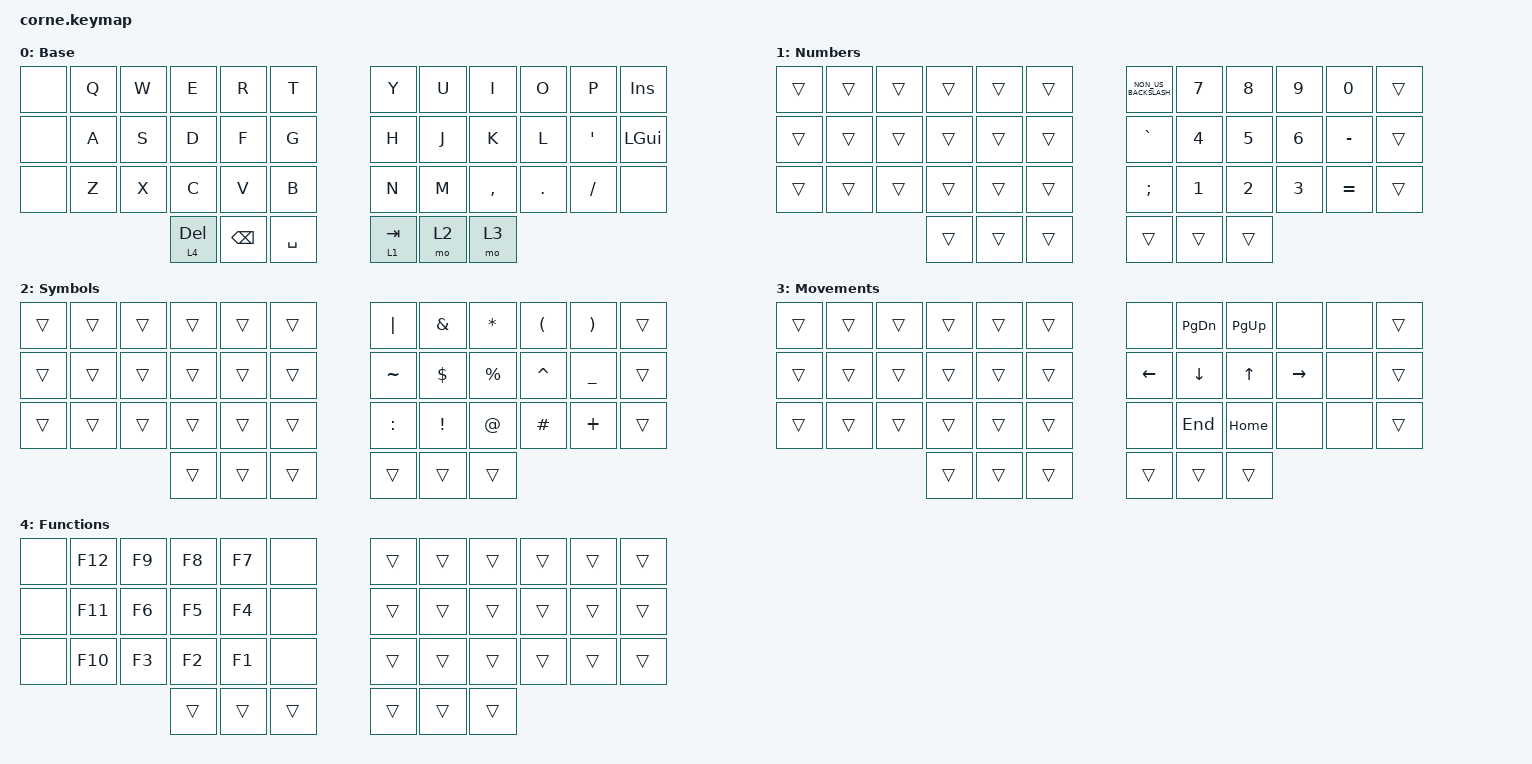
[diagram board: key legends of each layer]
/*
 * Copyright (c) 2020 The ZMK Contributors
 *
 * SPDX-License-Identifier: MIT
 */

#include <behaviors.dtsi>
#include <dt-bindings/zmk/keys.h>

/ {
    combos {
        compatible = "zmk,combos";

        left_control {
            bindings = <&kp LEFT_CONTROL>;
            key-positions = <16 15>;
        };

        left_shift {
            bindings = <&kp LEFT_SHIFT>;
            key-positions = <15 14>;
        };

        left_control_shift {
            bindings = <&kp LS(LEFT_CONTROL)>;
            key-positions = <16 15 14>;
        };

        enter {
            bindings = <&kp ENTER>;
            key-positions = <2 3 4>;
        };

        esc {
            bindings = <&kp ESC>;
            key-positions = <7 8 9>;
        };

        left_bracket {
            bindings = <&kp LEFT_BRACKET>;
            key-positions = <31 32>;
        };

        right_bracket {
            bindings = <&kp RIGHT_BRACKET>;
            key-positions = <32 33>;
        };

        right_control {
            bindings = <&kp LEFT_CONTROL>;
            key-positions = <19 20>;
        };

        right_shift {
            bindings = <&kp LEFT_SHIFT>;
            key-positions = <20 21>;
        };

        right_shift_control {
            bindings = <&kp LS(LEFT_CONTROL)>;
            key-positions = <19 20 21>;
        };
    };

    keymap {
        compatible = "zmk,keymap";

        default_layer {
            display-name = "Base";
            bindings = <
&none  &kp Q  &kp W  &kp E      &kp R          &kp T        &kp Y      &kp U  &kp I      &kp O    &kp P           &kp INSERT
&none  &kp A  &kp S  &kp D      &kp F          &kp G        &kp H      &kp J  &kp K      &kp L    &kp APOSTROPHE  &kp LEFT_GUI
&none  &kp Z  &kp X  &kp C      &kp V          &kp B        &kp N      &kp M  &kp COMMA  &kp DOT  &kp FSLH        &none
                     &lt 4 DEL  &kp BACKSPACE  &kp SPACE    &lt 1 TAB  &mo 2  &mo 3
            >;
        };

        numbers_layer {
            display-name = "Numbers";
            bindings = <
&trans  &trans  &trans  &trans  &trans  &trans    &kp NON_US_BACKSLASH  &kp N7        &kp N8        &kp N9        &kp N0     &trans
&trans  &trans  &trans  &trans  &trans  &trans    &kp GRAVE             &kp NUMBER_4  &kp N5        &kp NUMBER_6  &kp MINUS  &trans
&trans  &trans  &trans  &trans  &trans  &trans    &kp SEMICOLON         &kp NUMBER_1  &kp NUMBER_2  &kp NUMBER_3  &kp EQUAL  &trans
                        &trans  &trans  &trans    &trans                &trans        &trans
            >;
        };

        symbols_layer {
            display-name = "Symbols";
            bindings = <
&trans  &trans  &trans  &trans  &trans  &trans    &kp PIPE   &kp AMPS         &kp ASTERISK  &kp LPAR   &kp RPAR   &trans
&trans  &trans  &trans  &trans  &trans  &trans    &kp TILDE  &kp DOLLAR       &kp PERCENT   &kp CARET  &kp UNDER  &trans
&trans  &trans  &trans  &trans  &trans  &trans    &kp COLON  &kp EXCLAMATION  &kp AT_SIGN   &kp HASH   &kp PLUS   &trans
                        &trans  &trans  &trans    &trans     &trans           &trans
            >;
        };

        movements_layer {
            display-name = "Movements";
            bindings = <
&trans  &trans  &trans  &trans  &trans  &trans    &none     &kp PAGE_DOWN  &kp PAGE_UP   &none      &none  &trans
&trans  &trans  &trans  &trans  &trans  &trans    &kp LEFT  &kp DOWN       &kp UP_ARROW  &kp RIGHT  &none  &trans
&trans  &trans  &trans  &trans  &trans  &trans    &none     &kp END        &kp HOME      &none      &none  &trans
                        &trans  &trans  &trans    &trans    &trans         &trans
            >;
        };

        functions_layer {
            display-name = "Functions";
            bindings = <
&none  &kp F12  &kp F9  &kp F8  &kp F7  &none     &trans  &trans  &trans  &trans  &trans  &trans
&none  &kp F11  &kp F6  &kp F5  &kp F4  &none     &trans  &trans  &trans  &trans  &trans  &trans
&none  &kp F10  &kp F3  &kp F2  &kp F1  &none     &trans  &trans  &trans  &trans  &trans  &trans
                        &trans  &trans  &trans    &trans  &trans  &trans
            >;
        };
    };
};
